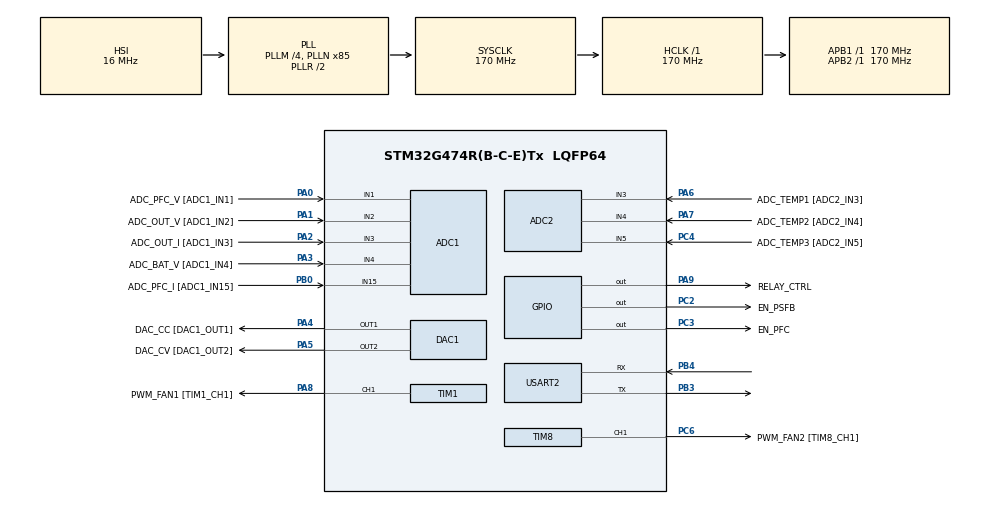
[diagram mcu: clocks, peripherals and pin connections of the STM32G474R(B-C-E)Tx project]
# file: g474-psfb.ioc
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ADC1.Channel-0\#ChannelRegularConversion=ADC_CHANNEL_1
ADC1.Channel-1\#ChannelRegularConversion=ADC_CHANNEL_2
ADC1.Channel-2\#ChannelRegularConversion=ADC_CHANNEL_3
ADC1.Channel-3\#ChannelRegularConversion=ADC_CHANNEL_4
ADC1.Channel-4\#ChannelRegularConversion=ADC_CHANNEL_15
ADC1.DMAContinuousRequests=ENABLE
ADC1.ExternalTrigConv=ADC_EXTERNALTRIG_T6_TRGO
ADC1.NbrOfConversion=5
ADC1.NbrOfConversionFlag=1
ADC1.OffsetNumber-0\#ChannelRegularConversion=ADC_OFFSET_NONE
ADC1.OffsetNumber-1\#ChannelRegularConversion=ADC_OFFSET_NONE
ADC1.OffsetNumber-2\#ChannelRegularConversion=ADC_OFFSET_NONE
ADC1.OffsetNumber-3\#ChannelRegularConversion=ADC_OFFSET_NONE
ADC1.OffsetNumber-4\#ChannelRegularConversion=ADC_OFFSET_NONE
ADC1.Rank-0\#ChannelRegularConversion=1
ADC1.Rank-1\#ChannelRegularConversion=2
ADC1.Rank-2\#ChannelRegularConversion=3
ADC1.Rank-3\#ChannelRegularConversion=4
ADC1.Rank-4\#ChannelRegularConversion=5
ADC1.SamplingTime-0\#ChannelRegularConversion=ADC_SAMPLETIME_92CYCLES_5
ADC1.SamplingTime-1\#ChannelRegularConversion=ADC_SAMPLETIME_92CYCLES_5
ADC1.SamplingTime-2\#ChannelRegularConversion=ADC_SAMPLETIME_92CYCLES_5
ADC1.SamplingTime-3\#ChannelRegularConversion=ADC_SAMPLETIME_92CYCLES_5
ADC1.SamplingTime-4\#ChannelRegularConversion=ADC_SAMPLETIME_92CYCLES_5
ADC1.master=1
ADC2.Channel-0\#ChannelRegularConversion=ADC_CHANNEL_3
ADC2.Channel-1\#ChannelRegularConversion=ADC_CHANNEL_4
ADC2.Channel-2\#ChannelRegularConversion=ADC_CHANNEL_5
ADC2.DMAContinuousRequests=ENABLE
ADC2.ExternalTrigConv=ADC_EXTERNALTRIG_T3_TRGO
ADC2.NbrOfConversion=3
ADC2.NbrOfConversionFlag=1
ADC2.OffsetNumber-0\#ChannelRegularConversion=ADC_OFFSET_NONE
ADC2.OffsetNumber-1\#ChannelRegularConversion=ADC_OFFSET_NONE
ADC2.OffsetNumber-2\#ChannelRegularConversion=ADC_OFFSET_NONE
ADC2.Rank-0\#ChannelRegularConversion=1
ADC2.Rank-1\#ChannelRegularConversion=2
ADC2.Rank-2\#ChannelRegularConversion=3
ADC2.SamplingTime-0\#ChannelRegularConversion=ADC_SAMPLETIME_92CYCLES_5
ADC2.SamplingTime-1\#ChannelRegularConversion=ADC_SAMPLETIME_92CYCLES_5
ADC2.SamplingTime-2\#ChannelRegularConversion=ADC_SAMPLETIME_92CYCLES_5
DAC1.DAC_Channel-DAC_OUT2=DAC_CHANNEL_2
Dma.ADC1.0.Direction=DMA_PERIPH_TO_MEMORY
Dma.ADC1.0.EventEnable=DISABLE
Dma.ADC1.0.Instance=DMA1_Channel1
Dma.ADC1.0.MemDataAlignment=DMA_MDATAALIGN_HALFWORD
Dma.ADC1.0.MemInc=DMA_MINC_ENABLE
Dma.ADC1.0.Mode=DMA_CIRCULAR
Dma.ADC1.0.PeriphDataAlignment=DMA_PDATAALIGN_HALFWORD
Dma.ADC1.0.PeriphInc=DMA_PINC_DISABLE
Dma.ADC1.0.Polarity=HAL_DMAMUX_REQ_GEN_RISING
Dma.ADC1.0.Priority=DMA_PRIORITY_LOW
Dma.ADC1.0.RequestNumber=1
Dma.ADC1.0.SignalID=NONE
Dma.ADC1.0.SyncEnable=DISABLE
Dma.ADC1.0.SyncPolarity=HAL_DMAMUX_SYNC_NO_EVENT
Dma.ADC1.0.SyncRequestNumber=1
Dma.ADC1.0.SyncSignalID=NONE
Dma.ADC2.1.Direction=DMA_PERIPH_TO_MEMORY
Dma.ADC2.1.EventEnable=DISABLE
Dma.ADC2.1.Instance=DMA1_Channel2
Dma.ADC2.1.MemDataAlignment=DMA_MDATAALIGN_HALFWORD
Dma.ADC2.1.MemInc=DMA_MINC_ENABLE
Dma.ADC2.1.Mode=DMA_CIRCULAR
Dma.ADC2.1.PeriphDataAlignment=DMA_PDATAALIGN_HALFWORD
Dma.ADC2.1.PeriphInc=DMA_PINC_DISABLE
Dma.ADC2.1.Polarity=HAL_DMAMUX_REQ_GEN_RISING
Dma.ADC2.1.Priority=DMA_PRIORITY_LOW
Dma.ADC2.1.RequestNumber=1
Dma.ADC2.1.SignalID=NONE
Dma.ADC2.1.SyncEnable=DISABLE
Dma.ADC2.1.SyncPolarity=HAL_DMAMUX_SYNC_NO_EVENT
Dma.ADC2.1.SyncRequestNumber=1
Dma.ADC2.1.SyncSignalID=NONE
Dma.Request0=ADC1
Dma.Request1=ADC2
Dma.Request2=USART2_RX
Dma.Request3=USART2_TX
Dma.USART2_RX.2.Direction=DMA_PERIPH_TO_MEMORY
Dma.USART2_RX.2.EventEnable=DISABLE
Dma.USART2_RX.2.Instance=DMA1_Channel3
Dma.USART2_RX.2.MemDataAlignment=DMA_MDATAALIGN_BYTE
Dma.USART2_RX.2.MemInc=DMA_MINC_ENABLE
Dma.USART2_RX.2.Mode=DMA_CIRCULAR
Dma.USART2_RX.2.PeriphDataAlignment=DMA_PDATAALIGN_BYTE
Dma.USART2_RX.2.PeriphInc=DMA_PINC_DISABLE
Dma.USART2_RX.2.Polarity=HAL_DMAMUX_REQ_GEN_RISING
Dma.USART2_RX.2.Priority=DMA_PRIORITY_LOW
Dma.USART2_RX.2.RequestNumber=1
Dma.USART2_RX.2.SignalID=NONE
Dma.USART2_RX.2.SyncEnable=DISABLE
Dma.USART2_RX.2.SyncPolarity=HAL_DMAMUX_SYNC_NO_EVENT
Dma.USART2_RX.2.SyncRequestNumber=1
Dma.USART2_RX.2.SyncSignalID=NONE
Dma.USART2_TX.3.Direction=DMA_MEMORY_TO_PERIPH
Dma.USART2_TX.3.EventEnable=DISABLE
Dma.USART2_TX.3.Instance=DMA1_Channel4
Dma.USART2_TX.3.MemDataAlignment=DMA_MDATAALIGN_BYTE
Dma.USART2_TX.3.MemInc=DMA_MINC_ENABLE
Dma.USART2_TX.3.Mode=DMA_NORMAL
Dma.USART2_TX.3.PeriphDataAlignment=DMA_PDATAALIGN_BYTE
Dma.USART2_TX.3.PeriphInc=DMA_PINC_DISABLE
Dma.USART2_TX.3.Polarity=HAL_DMAMUX_REQ_GEN_RISING
Dma.USART2_TX.3.Priority=DMA_PRIORITY_LOW
Dma.USART2_TX.3.RequestNumber=1
Dma.USART2_TX.3.SignalID=NONE
Dma.USART2_TX.3.SyncEnable=DISABLE
Dma.USART2_TX.3.SyncPolarity=HAL_DMAMUX_SYNC_NO_EVENT
Dma.USART2_TX.3.SyncRequestNumber=1
Dma.USART2_TX.3.SyncSignalID=NONE
Mcu.Family=STM32G4
Mcu.Name=STM32G474R(B-C-E)Tx
Mcu.Package=LQFP64
NVIC.ADC1_2_IRQn=true\:0\:0\:false\:false\:true\:true\:true\:true
NVIC.DMA1_Channel1_IRQn=true\:0\:0\:false\:false\:true\:false\:true\:true
NVIC.DMA1_Channel2_IRQn=true\:0\:0\:false\:false\:true\:false\:true\:true
NVIC.DMA1_Channel3_IRQn=true\:0\:0\:false\:false\:true\:false\:true\:true
NVIC.DMA1_Channel4_IRQn=true\:0\:0\:false\:false\:true\:false\:true\:true
NVIC.PriorityGroup=NVIC_PRIORITYGROUP_4
NVIC.TIM6_DAC_IRQn=true\:0\:0\:false\:false\:true\:true\:true\:true
NVIC.USART2_IRQn=true\:0\:0\:false\:false\:true\:true\:true\:true
PA0.GPIO_Label=ADC_PFC_V [ADC1_IN1]
PA0.Mode=IN1-Single-Ended
PA0.Signal=ADC1_IN1
PA1.GPIO_Label=ADC_OUT_V [ADC1_IN2]
PA1.Mode=IN2-Single-Ended
PA1.Signal=ADC1_IN2
PA13.Mode=Serial_Wire
PA13.Signal=SYS_JTMS-SWDIO
PA14.Mode=Serial_Wire
PA14.Signal=SYS_JTCK-SWCLK
PA2.GPIO_Label=ADC_OUT_I [ADC1_IN3]
PA2.Mode=IN3-Single-Ended
PA2.Signal=ADC1_IN3
PA3.GPIO_Label=ADC_BAT_V [ADC1_IN4]
PA3.Mode=IN4-Single-Ended
PA3.Signal=ADC1_IN4
PA4.GPIO_Label=DAC_CC [DAC1_OUT1]
PA4.Signal=COMP_DAC11_group
PA5.GPIO_Label=DAC_CV [DAC1_OUT2]
PA5.Signal=COMP_DAC12_group
PA6.GPIO_Label=ADC_TEMP1 [ADC2_IN3]
PA6.Mode=IN3-Single-Ended
PA6.Signal=ADC2_IN3
PA7.GPIO_Label=ADC_TEMP2 [ADC2_IN4]
PA7.Mode=IN4-Single-Ended
PA7.Signal=ADC2_IN4
PA8.GPIO_Label=PWM_FAN1 [TIM1_CH1]
PA8.Signal=S_TIM1_CH1
PA9.GPIO_Label=RELAY_CTRL
PA9.Signal=GPIO_Output
PB0.GPIO_Label=ADC_PFC_I [ADC1_IN15]
PB0.Mode=IN15-Single-Ended
PB0.Signal=ADC1_IN15
PB12.Signal=SPI2_NSS
PB13.Signal=SPI2_SCK
PB14.Signal=SPI2_MISO
PB15.Signal=SPI2_MOSI
PB3.GPIO_PuPd=GPIO_PULLUP
PB3.Mode=Asynchronous
PB3.Signal=USART2_TX
PB4.GPIO_PuPd=GPIO_PULLUP
PB4.Mode=Asynchronous
PB4.Signal=USART2_RX
PC2.GPIO_Label=EN_PSFB
PC2.GPIO_ModeDefaultOutputPP=GPIO_MODE_OUTPUT_OD
PC2.GPIO_PuPd=GPIO_NOPULL
PC2.PinState=GPIO_PIN_SET
PC2.Signal=GPIO_Output
PC3.GPIO_Label=EN_PFC
PC3.GPIO_ModeDefaultOutputPP=GPIO_MODE_OUTPUT_PP
PC3.GPIO_PuPd=GPIO_NOPULL
PC3.Signal=GPIO_Output
PC4.GPIO_Label=ADC_TEMP3 [ADC2_IN5]
PC4.Mode=IN5-Single-Ended
PC4.Signal=ADC2_IN5
PC6.GPIO_Label=PWM_FAN2 [TIM8_CH1]
PC6.GPIO_ModeDefaultPP=GPIO_MODE_AF_PP
PC6.Signal=S_TIM8_CH1
ProjectManager.HeapSize=0x200
ProjectManager.StackSize=0x400
ProjectManager.TargetToolchain=STM32CubeIDE
RCC.ADC12Freq_Value=170000000
RCC.ADC345Freq_Value=170000000
RCC.AHBFreq_Value=170000000
RCC.APB1Freq_Value=170000000
RCC.APB1TimFreq_Value=170000000
RCC.APB2Freq_Value=170000000
RCC.APB2TimFreq_Value=170000000
RCC.CortexFreq_Value=170000000
RCC.EXTERNAL_CLOCK_VALUE=12288000
RCC.HCLKFreq_Value=170000000
RCC.HSE_VALUE=8000000
RCC.HSI48_VALUE=48000000
RCC.HSI_VALUE=16000000
RCC.LSE_VALUE=32768
RCC.PLLM=RCC_PLLM_DIV4
RCC.PLLN=85
RCC.SYSCLKFreq_VALUE=170000000
RCC.SYSCLKSource=RCC_SYSCLKSOURCE_PLLCLK
RCC.USBFreq_Value=170000000
RCC.VCOOutputFreq_Value=340000000
SH.COMP_DAC11_group.0=DAC1_OUT1,DAC_OUT1
SH.COMP_DAC12_group.0=DAC1_OUT2,DAC_OUT2
SH.S_TIM1_CH1.0=TIM1_CH1,PWM Generation1 CH1
SH.S_TIM8_CH1.0=TIM8_CH1,PWM Generation1 CH1
TIM1.Channel-PWM\ Generation1\ CH1=TIM_CHANNEL_1
TIM1.PeriodNoDither=1700-1
TIM1.Prescaler=4-1
TIM1.PulseNoDither_1=425
TIM3.PeriodNoDither=17000-1
TIM3.Prescaler=170-1
TIM3.TIM_MasterOutputTrigger=TIM_TRGO_UPDATE
TIM6.PeriodNoDither=17000-1
TIM6.Prescaler=10-1
TIM6.TIM_MasterOutputTrigger=TIM_TRGO_UPDATE
TIM8.Channel-Output\ Compare2\ No\ Output=TIM_CHANNEL_2
TIM8.Channel-PWM\ Generation1\ CH1=TIM_CHANNEL_1
TIM8.OCMode_2=TIM_OCMODE_ACTIVE
TIM8.PeriodNoDither=1700-1
TIM8.Prescaler=4-1
TIM8.PulseNoDither_1=425
TIM8.PulseNoDither_2=850
TIM8.TIM_MasterOutputTrigger=TIM_TRGO_OC2REF
USART2.VirtualMode-Asynchronous=VM_ASYNC
VP_SYS_VS_DBSignals.Mode=DisableDeadBatterySignals
VP_TIM1_VS_ClockSourceINT.Mode=Internal
VP_TIM1_VS_ClockSourceITR.Mode=TriggerSource_ITR5
VP_TIM1_VS_ControllerModeTrigger.Mode=Trigger Mode
VP_TIM3_VS_ClockSourceINT.Mode=Internal
VP_TIM6_VS_ClockSourceINT.Mode=Enable_Timer
VP_TIM8_VS_ClockSourceINT.Mode=Internal
VP_TIM8_VS_no_output2.Mode=Output Compare2 No Output
board=custom

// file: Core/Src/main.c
/* USER CODE BEGIN Header */
/**
  ******************************************************************************
  * @file           : main.c
  * @brief          : Main program body
  ******************************************************************************
  * @attention
  *
  * Copyright (c) 2026 STMicroelectronics.
  * All rights reserved.
  *
  * This software is licensed under terms that can be found in the LICENSE file
  * in the root directory of this software component.
  * If no LICENSE file comes with this software, it is provided AS-IS.
  *
  ******************************************************************************
  */
/* USER CODE END Header */
#include "main.h"
#include "adc.h"
#include "dac.h"
#include "dma.h"
#include "tim.h"
#include "usart.h"
#include "gpio.h"

/* USER CODE BEGIN Includes */
#include "stdio.h"
#include "math.h"
#include "stdlib.h"
#include "string.h"
#include "charger_uart.h"

/* USER CODE END Includes */

/* USER CODE BEGIN PD */
#define ADC_BUFFER_SIZE 5
#define ADC2_BUFFER_SIZE 3
#define VPFC_SCALE 241.0   // (3/(3+720))^-1
#define VOUT_SCALE 307.383 // (2.35/(2.35+720))^-1
#define R_FIXED_TEMP 10000
#define A1 0.003354016434680530000f
#define B1 0.000256523550896126f
#define C1 2.60597012072052E-06f
#define D1 6.3292612648746E-08f
#define IOUT_OFFSET 0.98

// Safety Limits
#define LIMIT_VOUT_MAX  600.0
#define LIMIT_VOUT_MIN   20.0
#define LIMIT_IOUT_MAX    7.5
#define LIMIT_IOUT_MIN    0.0
#define LIMIT_POUT_MAX 3000.0
#define LIMIT_VIN_MIN   370.0
#define LIMIT_TEMP_MAX   80.0
#define LIMIT_VBAT_MAX  600.0
#define LIMIT_VBAT_DETECT_MIN   5.0

#define LIMIT_MAX_TOLERANCE 1.05
//#define LIMIT_MIN_TOLERANCE 0.95

volatile float duty = 0.1;
volatile uint32_t deadtime = 0;

volatile uint16_t adc_buffer[ADC_BUFFER_SIZE];
volatile uint16_t adc2_buffer[ADC2_BUFFER_SIZE];

volatile uint8_t psfb_enable = 0;
volatile uint8_t relay_enable = 0;
volatile uint8_t is_startButtonPressed = 0;
volatile uint8_t is_dischargeCommandRx = 0;

float CC_Threshold = 3;
float CC_Threshold_Ramp = 0;
float CV_Threshold = LIMIT_VOUT_MIN;
float CV_Threshold_Ramp = 0;

typedef struct {
    union {
        float val;
        float y0;   // Current value
    };
    float y1;
    float y2;
    float x0;   // Current measurement
    float x1;
    float x2;
} Measurements;

typedef struct {
    Measurements PFCCurrent;
    Measurements PFCVoltage;
    Measurements OutputVoltage;
    Measurements OutputCurrent;
    Measurements OutputPower;
    Measurements BatteryVoltage;
    Measurements temp[3];
} SensorsMeas;

SensorsMeas sensorsMeas = {0};

typedef struct {
    const float *PFCCurrent;
    const float *PFCVoltage;
    const float *OutputVoltage;
    const float *OutputCurrent;
    const float *OutputPower;
    const float *BatteryVoltage;
    const float *temp1;
    const float *temp2;
    const float *temp3;
} SensorsVal;

const volatile SensorsVal sensorsVal = {
    .PFCCurrent = &sensorsMeas.PFCCurrent.val,
    .PFCVoltage = &sensorsMeas.PFCVoltage.val,
    .OutputVoltage = &sensorsMeas.OutputVoltage.val,
    .OutputCurrent = &sensorsMeas.OutputCurrent.val,
    .OutputPower = &sensorsMeas.OutputPower.val,
    .BatteryVoltage = &sensorsMeas.BatteryVoltage.val,
    .temp1 = &sensorsMeas.temp[0].val,
    .temp2 = &sensorsMeas.temp[1].val,
    .temp3 = &sensorsMeas.temp[2].val,
};

typedef enum {
    CHARGER_STATE_IDLE,
    CHARGER_STATE_IDLE_BATT,
    CHARGER_STATE_PRECHARGE,
    CHARGER_STATE_ACTIVE,
    CHARGER_STATE_DISCHARGE,
    CHARGER_STATE_ERROR,
    CHARGER_STATE_TOTAL
} Charger_states;

char *CHARGER_STATE_STRING[CHARGER_STATE_TOTAL] = {
    "IDLE",
    "IDLE_BATT_CONNECTED",
    "PRECHARGE",
    "ACTIVE",
    "DISCHARGE",
    "ERROR",
};

Charger_states volatile charger_state = CHARGER_STATE_IDLE;
Charger_states volatile charger_state_prev = CHARGER_STATE_IDLE;

typedef enum {
    CMD_SET_CV = 'V',
    CMD_SET_CC = 'C',
//    CMD_EN_RELAY = 'R',
//    CMD_EN_PSFB = 'P',
    CMD_START_BUTTON = 'S',
    CMD_FAULT = 'F',
    CMD_DISCHARGE = 'D',
    CMD_INVALID = -1,
} uart_cmds;

typedef enum {
    ERR_UART_TIMEOUT    = 0x0001,
    ERR_LV_FAULT        = 0x0002,
    ERR_VIN_UV          = 0x0004,
    ERR_VIN_OV          = 0x0008,
    ERR_VOUT_OV         = 0x0010,
    ERR_IOUT_OC         = 0x0020,
    ERR_POUT_OP         = 0x0040,
    ERR_TEMP_OT         = 0x0080,
    ERR_VBAT_REVERSE    = 0x0100,
    ERR_VBAT_OV         = 0x0200,
} charger_err_codes;

volatile charger_err_codes charger_error_code = 0;
volatile uint8_t charger_error_lv = 0;
volatile uint8_t charger_error_uartCounter = 0;

/* USER CODE END PD */

void SystemClock_Config(void);
/* USER CODE BEGIN PFP */

static void lowpass(Measurements *meas, float x0);
static void fanSpeedUpdate(void);
static void CCCV_check(void);
static void CCCV_ramp(void);
static void enablePinsUpdate(void);

/* USER CODE END PFP */

int main(void)
{

  /* MCU Configuration--------------------------------------------------------*/

  /* Reset of all peripherals, Initializes the Flash interface and the Systick. */
  HAL_Init();

  /* Configure the system clock */
  SystemClock_Config();

  /* Initialize all configured peripherals */
  MX_GPIO_Init();
  MX_DMA_Init();
  MX_ADC1_Init();
  MX_USART2_UART_Init();
  MX_ADC2_Init();
  MX_DAC1_Init();
  MX_TIM1_Init();
  MX_TIM6_Init();
  MX_TIM8_Init();
  MX_TIM3_Init();
  /* USER CODE BEGIN 2 */

  HAL_TIM_Base_Start_IT(&htim6);
  HAL_TIM_Base_Start_IT(&htim3);

  HAL_TIM_PWM_Start(&htim8, TIM_CHANNEL_1);
  HAL_TIMEx_PWMN_Start(&htim8, TIM_CHANNEL_1);
  HAL_TIM_OC_Start(&htim8, TIM_CHANNEL_2);

  HAL_TIM_PWM_Start(&htim1, TIM_CHANNEL_1);
  HAL_TIMEx_PWMN_Start(&htim1, TIM_CHANNEL_1);

//  HAL_ADC_Start_IT(&hadc1); // Start ADC Conversion

  HAL_ADCEx_Calibration_Start(&hadc1, ADC_SINGLE_ENDED);
  HAL_ADC_Start_DMA(&hadc1, (uint32_t *)adc_buffer, ADC_BUFFER_SIZE);
  HAL_ADCEx_Calibration_Start(&hadc2, ADC_SINGLE_ENDED);
  HAL_ADC_Start_DMA(&hadc2, (uint32_t *)adc2_buffer, ADC2_BUFFER_SIZE);

  DAC_ChannelConfTypeDef sConfig;
  HAL_DACEx_SelfCalibrate(&hdac1, &sConfig, DAC_CHANNEL_1);
  HAL_DACEx_SelfCalibrate(&hdac1, &sConfig, DAC_CHANNEL_2);
  HAL_DAC_Start(&hdac1, DAC1_CHANNEL_1);
  HAL_DAC_Start(&hdac1, DAC1_CHANNEL_2);

  uart_init();

  HAL_GPIO_WritePin(RELAY_CTRL_GPIO_Port, RELAY_CTRL_Pin, 1); // This is actually connected to PFC EN

//  uint16_t dac_val = 0;
  /* USER CODE END 2 */

  /* Infinite loop */
  while (1) {

    /* USER CODE BEGIN 3 */
    printfDma("\\VI:%7.2f, VO:%7.2f, IO:%7.3f, VB:%7.2f, PO:%9.2f, T1:%7.2f, T2:%7.2f, T3:%7.2f, ST:%1d, ER:%04x\n",
                *sensorsVal.PFCVoltage,
                *sensorsVal.OutputVoltage,
                *sensorsVal.OutputCurrent,
                *sensorsVal.BatteryVoltage,
                *sensorsVal.OutputPower,
                *sensorsVal.temp1,
                *sensorsVal.temp2,
                *sensorsVal.temp3,
                charger_state,
                charger_error_code
                );

    CCCV_check();
    fanSpeedUpdate();

    HAL_Delay(100);
  }
  /* USER CODE END 3 */
}

void SystemClock_Config(void)
{
  RCC_OscInitTypeDef RCC_OscInitStruct = {0};
  RCC_ClkInitTypeDef RCC_ClkInitStruct = {0};

  /** Configure the main internal regulator output voltage
  */
  HAL_PWREx_ControlVoltageScaling(PWR_REGULATOR_VOLTAGE_SCALE1_BOOST);

  /** Initializes the RCC Oscillators according to the specified parameters
  * in the RCC_OscInitTypeDef structure.
  */
  RCC_OscInitStruct.OscillatorType = RCC_OSCILLATORTYPE_HSI;
  RCC_OscInitStruct.HSIState = RCC_HSI_ON;
  RCC_OscInitStruct.HSICalibrationValue = RCC_HSICALIBRATION_DEFAULT;
  RCC_OscInitStruct.PLL.PLLState = RCC_PLL_ON;
  RCC_OscInitStruct.PLL.PLLSource = RCC_PLLSOURCE_HSI;
  RCC_OscInitStruct.PLL.PLLM = RCC_PLLM_DIV4;
  RCC_OscInitStruct.PLL.PLLN = 85;
  RCC_OscInitStruct.PLL.PLLP = RCC_PLLP_DIV2;
  RCC_OscInitStruct.PLL.PLLQ = RCC_PLLQ_DIV2;
  RCC_OscInitStruct.PLL.PLLR = RCC_PLLR_DIV2;
  if (HAL_RCC_OscConfig(&RCC_OscInitStruct) != HAL_OK)
  {
    Error_Handler();
  }

  /** Initializes the CPU, AHB and APB buses clocks
  */
  RCC_ClkInitStruct.ClockType = RCC_CLOCKTYPE_HCLK|RCC_CLOCKTYPE_SYSCLK
                              |RCC_CLOCKTYPE_PCLK1|RCC_CLOCKTYPE_PCLK2;
  RCC_ClkInitStruct.SYSCLKSource = RCC_SYSCLKSOURCE_PLLCLK;
  RCC_ClkInitStruct.AHBCLKDivider = RCC_SYSCLK_DIV1;
  RCC_ClkInitStruct.APB1CLKDivider = RCC_HCLK_DIV1;
  RCC_ClkInitStruct.APB2CLKDivider = RCC_HCLK_DIV1;

  if (HAL_RCC_ClockConfig(&RCC_ClkInitStruct, FLASH_LATENCY_4) != HAL_OK)
  {
    Error_Handler();
  }
}

/* USER CODE BEGIN 4 */

static uint32_t charger_checkErrors(void){

    uint32_t errorCode = 0;

    if (charger_error_uartCounter > 10){
        errorCode |= ERR_UART_TIMEOUT;
    }

    if (charger_error_lv){
        errorCode |= ERR_LV_FAULT;
    }

    // Check if input voltage suddenly drops
    if (*sensorsVal.PFCVoltage < LIMIT_VIN_MIN){
        errorCode |= ERR_VIN_UV;
    }

    // Check for overvoltage/current/power
    if (*sensorsVal.OutputVoltage > LIMIT_VOUT_MAX * LIMIT_MAX_TOLERANCE){
        errorCode |= ERR_VOUT_OV;
    }
    if (*sensorsVal.OutputCurrent > LIMIT_IOUT_MAX * LIMIT_MAX_TOLERANCE){
        errorCode |= ERR_IOUT_OC;
    }
    if (*sensorsVal.OutputPower > LIMIT_POUT_MAX * LIMIT_MAX_TOLERANCE){
        errorCode |= ERR_POUT_OP;
    }

    // Temp Sensors
    if (*sensorsVal.temp1 > LIMIT_TEMP_MAX ||
        *sensorsVal.temp2 > LIMIT_TEMP_MAX ||
        *sensorsVal.temp3 > LIMIT_TEMP_MAX){
        errorCode |= ERR_TEMP_OT;
    }

    // VBAT CHECK
    if (*sensorsVal.BatteryVoltage < -LIMIT_VBAT_DETECT_MIN){
        errorCode |= ERR_VBAT_REVERSE;
    }
    if (*sensorsVal.BatteryVoltage > LIMIT_VBAT_MAX * LIMIT_MAX_TOLERANCE){
        errorCode |= ERR_VBAT_OV;
    }

    return errorCode;
}

void uart_parseRxFrame(uint8_t* buffer, uint32_t len){

    if (len < 2) // Including '/n'
        return;

    uint8_t cmd = buffer[0];
    float value = atoff((char *)(buffer+2));

    switch (cmd)
    {
    case CMD_SET_CV:
        if (value <= LIMIT_VOUT_MAX && value >= LIMIT_VOUT_MIN){
            CV_Threshold = value;
        }
        break;

    case CMD_SET_CC:
        if (value <= LIMIT_IOUT_MAX && value >= LIMIT_IOUT_MIN){
            CC_Threshold = value;
        }
        break;

//    case CMD_EN_RELAY:
//        if (value > 0){
//            relay_enable = 1;
//        } else {
//            relay_enable = 0;
//        }
//        break;
//
//    case CMD_EN_PSFB:
//        if (value > 0){
//            psfb_enable = 1;
//        } else {
//            psfb_enable = 0;
//        }
//        break;

    case CMD_START_BUTTON:
        is_startButtonPressed = 1;
        break;

    case CMD_DISCHARGE:
        is_dischargeCommandRx = 1;
        break;

    case CMD_FAULT:
        if (value > 0){
            charger_error_lv = value;
        } else {
            charger_error_lv = 0;
        }
        // Reset timeout counter
        charger_error_uartCounter = 0;
        break;

    default:
        charger_error_code = CMD_INVALID;
        break;
    }

    if (cmd){
        if (cmd == CMD_INVALID){
            printfDma("// UART CMD INVALID\n");
        } else {
            printfDma("// UART CMD RECEIVED = [%c][%f]\n", cmd, value);
        }
    }

    memset(buffer, '\0', len);
}

static void enablePinsUpdate(void){
    HAL_GPIO_WritePin(EN_PSFB_GPIO_Port, EN_PSFB_Pin, psfb_enable);
    HAL_GPIO_WritePin(EN_PFC_GPIO_Port,  EN_PFC_Pin,  relay_enable);
}

static void fanSpeedUpdate(void){
    // Variable fan speed control
//    duty = (sensorsMeas.temp[2].val - 30) / 40;
//
//    if (duty > 1)
//        duty = 1;
//    if (duty < 0)
//        duty = 0;
//
    duty = 1.0;

    TIM8->CCR1 = 1700 * duty;
    TIM1->CCR1 = 1700 * duty;
}

static void CCCV_check(void){
    if (CC_Threshold > LIMIT_IOUT_MAX){
        CC_Threshold = LIMIT_IOUT_MAX;
    } else
    if (CC_Threshold < LIMIT_IOUT_MIN){
        CC_Threshold = LIMIT_IOUT_MIN;
    }

    if (CV_Threshold > LIMIT_VOUT_MAX){
        CV_Threshold = LIMIT_VOUT_MAX;
    } else
    if (CV_Threshold < LIMIT_VOUT_MIN){
        CV_Threshold = LIMIT_VOUT_MIN;
    }

    if (CC_Threshold * CV_Threshold > LIMIT_POUT_MAX){
        CC_Threshold = LIMIT_POUT_MAX / CV_Threshold; // Pout limit by adjusting CC
    }
}

static void CCCV_ramp(void){
    // Divide by 1000 for 1kHz
    static const float rampRateCC = 0.5 / 1000.0;
    static const float rampRateCV = 50  / 1000.0;

    if (psfb_enable){
        // CC Ramp
        if (CC_Threshold_Ramp < CC_Threshold){
            CC_Threshold_Ramp += rampRateCC;
            if (CC_Threshold_Ramp > CC_Threshold){
                CC_Threshold_Ramp = CC_Threshold;
            }
        } else if (CC_Threshold_Ramp > CC_Threshold){
            CC_Threshold_Ramp -= rampRateCC;
            if (CC_Threshold_Ramp < CC_Threshold){
                CC_Threshold_Ramp = CC_Threshold;
            }
        }
        // CV Ramp
        if (CV_Threshold_Ramp < CV_Threshold){
            CV_Threshold_Ramp += rampRateCV;
            if (CV_Threshold_Ramp > CV_Threshold){
                CV_Threshold_Ramp = CV_Threshold;
            }
        } else if (CV_Threshold_Ramp > CV_Threshold){
            CV_Threshold_Ramp -= rampRateCV;
            if (CV_Threshold_Ramp < CV_Threshold){
                CV_Threshold_Ramp = CV_Threshold;
            }
        }
    } else {
        // Reset DAC output to 0 if PSFB disabled
        CC_Threshold_Ramp = LIMIT_IOUT_MIN;
        CV_Threshold_Ramp = LIMIT_VOUT_MIN;
    }

    // Clamp result for safety
    if (CC_Threshold_Ramp < LIMIT_IOUT_MIN){
        CC_Threshold_Ramp = LIMIT_IOUT_MIN;
    } else if (CC_Threshold_Ramp > LIMIT_IOUT_MAX){
        CC_Threshold_Ramp = LIMIT_IOUT_MAX;
    }
    if (CV_Threshold_Ramp < LIMIT_VOUT_MIN){
        CV_Threshold_Ramp = LIMIT_VOUT_MIN;
    } else if (CV_Threshold_Ramp > LIMIT_VOUT_MAX){
        CV_Threshold_Ramp = LIMIT_VOUT_MAX;
    }

    uint16_t CC_ThresholdRaw = ((CC_Threshold_Ramp - IOUT_OFFSET) * 0.4 + 0.5) / (3.3/4095);
    DAC1->DHR12R1 = CC_ThresholdRaw;
    // (CC_Threshold * 3.3/4095 - 2.5)  / -0.1;

    uint16_t CV_ThresholdRaw = (CV_Threshold_Ramp * 1.5) / VOUT_SCALE / (3.3/4095);
    DAC1->DHR12R2 = CV_ThresholdRaw;
    // CV_Threshold * 3.3/4095 * 15.12 /  1.5;
}

static void lowpass(Measurements *meas, float x0){

    // https://www.earlevel.com/main/2021/09/02/biquad-calculator-v3/
    // 1kHz 10Hz cutoff
//    static const float b0 = 0.00094469146f;
//    static const float b1 = 0.00188938292f;
//    static const float b2 = 0.00094469146f;
//    static const float a1 = -1.9111962882f;
//    static const float a2 = 0.9149750541f;

    // 1kHz 2Hz cutoff
    static const float b0 = 0.00003913020209409091;
    static const float b1 = 0.00007826040418818182;
    static const float b2 = 0.00003913020209409091;
    static const float a1 = -1.9822287623675816;
    static const float a2 = 0.982385283175958;

    // Shift Values
    meas->x2 = meas->x1;
    meas->x1 = meas->x0;
    meas->y2 = meas->y1;
    meas->y1 = meas->y0;

    meas->x0 = x0;          // Save current measurement

    meas->y0 = meas->x0 * b0 +
               meas->x1 * b1 +
               meas->x2 * b2 -
               meas->y1 * a1 -
               meas->y2 * a2;
}

volatile uint32_t timerTest = 0;

void HAL_TIM_PeriodElapsedCallback(TIM_HandleTypeDef *htim)
{
    if (htim->Instance == TIM6)     // 1 kHz
    {
        // Handle button press
        if (is_startButtonPressed){
            switch (charger_state){
            case CHARGER_STATE_IDLE:
            case CHARGER_STATE_IDLE_BATT:
                charger_state = CHARGER_STATE_PRECHARGE;
                break;
            default:
                charger_state = CHARGER_STATE_IDLE;
                break;
            }
            is_startButtonPressed = 0;
        }

        // Handle discharge command
        if (is_dischargeCommandRx){
            switch (charger_state){
            case CHARGER_STATE_IDLE:
            case CHARGER_STATE_IDLE_BATT:
                charger_state = CHARGER_STATE_DISCHARGE;
                break;
            default:
                break;
            }
            is_dischargeCommandRx = 0;
        }

        // Update error code
        charger_error_code = charger_checkErrors();
        if (charger_error_code){
            // Bypass error state if in discharge state
            if (charger_state != CHARGER_STATE_DISCHARGE){
                charger_state = CHARGER_STATE_ERROR;
            }
        }

        // Update State
        switch (charger_state){
        case CHARGER_STATE_IDLE:
            relay_enable = 0;
            psfb_enable = 0;
            if (*sensorsVal.BatteryVoltage > LIMIT_VBAT_DETECT_MIN){
                charger_state = CHARGER_STATE_IDLE_BATT;
            }
            break;

        case CHARGER_STATE_IDLE_BATT:
            relay_enable = 0;
            psfb_enable = 0;
            if (*sensorsVal.BatteryVoltage < LIMIT_VBAT_DETECT_MIN){
                charger_state = CHARGER_STATE_IDLE;
            }
            break;

        case CHARGER_STATE_PRECHARGE:
            relay_enable = 0;
            psfb_enable = 1;
            // Precharge check before relay ON
            if (*sensorsVal.OutputVoltage > *sensorsVal.BatteryVoltage * 0.95){
                relay_enable = 1;
                charger_state = CHARGER_STATE_ACTIVE;
            }
            break;

        case CHARGER_STATE_ACTIVE:
            relay_enable = 1;
            psfb_enable = 1;
            if (charger_error_code){
                relay_enable = 0;
                psfb_enable = 0;
                charger_state = CHARGER_STATE_ERROR;

                printfDma("// ERROR DETECTED = [%d]\n", charger_error_code);
            }
            break;

        case CHARGER_STATE_ERROR:
            relay_enable = 0;
            psfb_enable = 0;
            if (!charger_error_code){
                charger_state = CHARGER_STATE_IDLE;
            }
            break;

        case CHARGER_STATE_DISCHARGE:
            relay_enable = 1;
            psfb_enable = 1;
            CC_Threshold = 1;
            CV_Threshold = 60;
            if ((*sensorsVal.PFCVoltage < 20) &&
                (*sensorsVal.OutputVoltage < 20)){
                charger_state = CHARGER_STATE_IDLE;
            }
            break;

        default:
            break;
        }

        CCCV_check();
        CCCV_ramp();
        enablePinsUpdate();

        // Print new state
        if (charger_state_prev != charger_state){
            printfDma("// New State = [%s]\n", CHARGER_STATE_STRING[charger_state]);
            charger_state_prev = charger_state;
        }

        // Increment uart timout counter
        if (charger_error_uartCounter++ == 100)
            charger_error_uartCounter = 100;

        timerTest++;
    }
}

void HAL_ADC_ConvCpltCallback(ADC_HandleTypeDef* hadc)
{
//    adcVal = HAL_ADC_GetValue(&hadc1); // Read & Update The ADC Result
    if (hadc->Instance == ADC1)
    {
        lowpass(&sensorsMeas.PFCVoltage,      adc_buffer[0] * 3.3/4095 * VPFC_SCALE /  1.5);
        lowpass(&sensorsMeas.OutputVoltage,   adc_buffer[1] * 3.3/4095 * VOUT_SCALE /  1.5);
        lowpass(&sensorsMeas.OutputCurrent,  (adc_buffer[2] * 3.3/4095 - 0.5) / 0.4 + IOUT_OFFSET);
        lowpass(&sensorsMeas.BatteryVoltage,  adc_buffer[3] * 3.3/4095 * VOUT_SCALE /  1.5);
        lowpass(&sensorsMeas.PFCCurrent,      adc_buffer[4]);

        lowpass(&sensorsMeas.OutputPower,     sensorsMeas.OutputVoltage.val * sensorsMeas.OutputCurrent.val);

    }

    else if (hadc->Instance == ADC2)
    {
        float Rntc[3];
        float lnR[3];
        float _temp[3];

        for (int i = 0; i < 3; i++){
            if (adc2_buffer[i] != 4095)
                Rntc[i] =  (R_FIXED_TEMP * adc2_buffer[i])/(4095 - adc2_buffer[i]); //lesser variables
            else
                Rntc[i] =  (R_FIXED_TEMP * adc2_buffer[i])/(1);

            lnR[i] = log(Rntc[i]/10000);

            _temp[i] = 1/(A1 + B1 * lnR[i] + C1 * lnR[i] * lnR[i] + D1 * lnR[i] * lnR[i] * lnR[i]) - 273.15;

            if (isnan(_temp[i]))
                break;
            else if (_temp[i] > 200.0f)
                _temp[i] = 200;
            else if (_temp[i] < -10.0f)
                _temp[i] = -10.0f;

            lowpass(&sensorsMeas.temp[i], _temp[i]);
        }

    /**float Vtemp1 = adc2_buffer[0] * 3.3/4095;
    float Vtemp2 = adc2_buffer[1] * 3.3/4095;
    float Vtemp3 = adc2_buffer[2] * 3.3/4095;

    float Rntc1 =  (R_FIXED_TEMP * Vtemp1)/(3.3 - Vtemp1);
    float Rntc2 =  (R_FIXED_TEMP * Vtemp2)/(3.3 - Vtemp2);
    float Rntc3 =  (R_FIXED_TEMP * Vtemp3)/(3.3 - Vtemp3); **/
    }

}

/* USER CODE END 4 */

void Error_Handler(void)
{
  __disable_irq();
  while (1)
  {
  }
}
